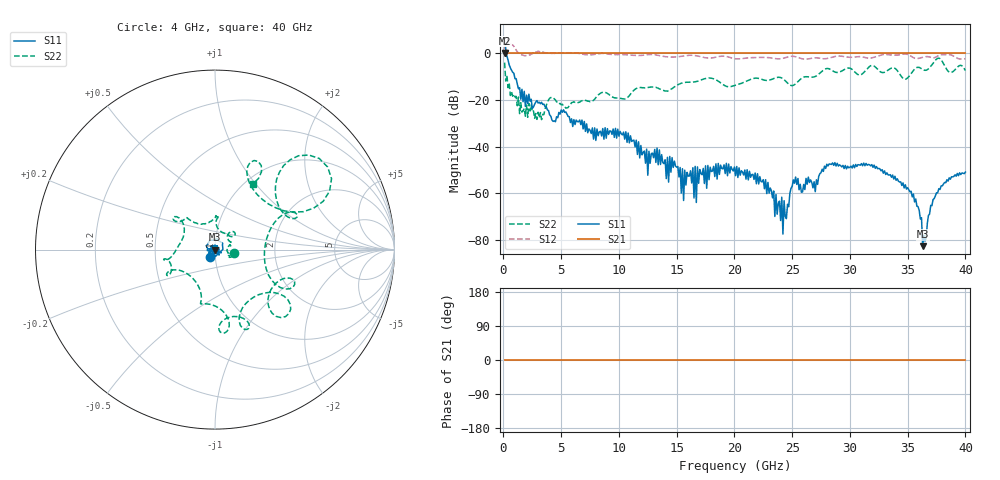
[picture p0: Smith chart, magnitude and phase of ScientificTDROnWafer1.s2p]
# MHz MA S R 50.0
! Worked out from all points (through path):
!   400 points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, 100 MHz to 40 GHz, reference 50 ohm
!   highest |S21| = 0.00 dB at 100 MHz (marker M1); lowest = 0.0 dB at 100 MHz (marker M2)
!   lowest |S11| = -82.6 dB at 36.3 GHz (marker M3), VSWR 1.00, Z = 50 - j0.00649 ohm
!   |S11| at or under -10 dB: 959.3 MHz to end of sweep
!   |S22| runs from -28.4 to -2.2 dB; largest |S21 - S12| = 2.4
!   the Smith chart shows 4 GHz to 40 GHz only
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100  1.863 153.4  1 0.0  1.233 85.5  0.6255 75.8
200  1.237 88.2  1 0.0  1.797 15.9  0.2522 109.7
600  0.4833 18.0  1 0.0  1.628 -101.0  0.1238 108.4
1500  0.103 -130.6  1 0.0  0.9368 97.9  0.08677 116.4
2800  0.08962 71.4  1 0.0  1.058 -106.5  0.05099 -35.1
3800  0.06116 -96.5  1 0.0  0.9948 77.7  0.08879 -3.5
4800  0.05375 156.5  1 0.0  1.001 -87.3  0.08155 -23.2
5900  0.03927 -26.2  1 0.0  1.011 85.4  0.0869 14.9
6800  0.03688 -152.0  1 0.0  0.9509 -67.9  0.09587 26.4
8000  0.01353 54.1  1 0.0  0.951 96.1  0.1115 49.1
9000  0.02418 -98.7  1 0.0  0.957 -75.6  0.137 36.0
10200  0.01884 98.6  1 0.0  0.9297 84.4  0.107 57.3
13400  0.004074 -20.6  1 0.0  0.8917 -93.0  0.1774 90.0
14500  0.002834 -169.4  1 0.0  0.8213 87.1  0.1681 120.9
15600  0.000702 81.2  1 0.0  0.8682 -92.7  0.2341 131.1
16600  0.003774 106.6  1 0.0  0.8864 95.7  0.2425 138.8
20100  0.002384 -91.9  1 0.0  0.7555 -127.9  0.2059 175.1
26700  0.001704 -170.6  1 0.0  0.7765 -145.6  0.3059 -97.9
32400  0.003349 84.9  1 0.0  0.8574 -8.9  0.4484 -47.5
33400  0.002464 -65.2  1 0.0  0.9188 178.2  0.4487 -20.8
36300  7.4e-05 -118.7  1 0.0  0.8126 57.6  0.4461 23.9
40000  0.002842 -123.3  1 0.0  0.7558 159.1  0.4232 59.9
